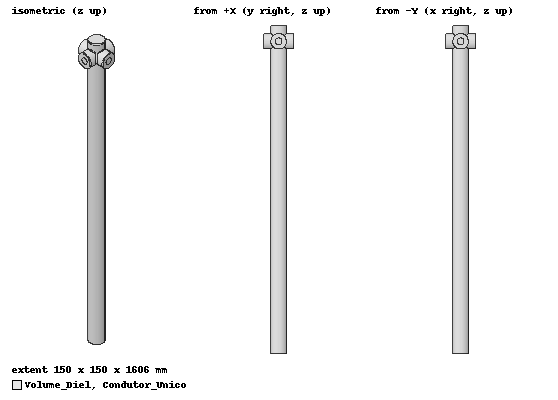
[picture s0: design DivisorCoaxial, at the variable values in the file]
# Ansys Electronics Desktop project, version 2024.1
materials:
  vacuum: permittivity=1
  Ar: permittivity=1.0006 permeability=1
  pec: conductivity=1e+30
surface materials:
  Steel-oxidised-surface

design DivisorCoaxial (HFSS, HFSS Modal Network, model units mm)
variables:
  comp_total = 1605.5494mm
  comp_secoes = 1529.0947mm
  dia_int_tubo = 75.86mm
  dia_saida_50ohm = 32.93839mm
  dia_sc1 = 42.055291mm
  dia_sc2 = 56.482868mm
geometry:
  Volume_Diel [Ar] = cylinder(axis=Z, base_centre=(0mm, 0mm, 0mm), radius=dia_int_tubo/2, height=comp_total)
  Condutor_Unico [pec] = cylinder(axis=Z, base_centre=(0mm, 0mm, 0mm), radius=dia_sc1/2, height=764.54735mm)
  Cond_Sec2 = cylinder(axis=Z, base_centre=(0mm, 0mm, 764.54735mm), radius=dia_sc2/2, height=764.54735mm)
  Output_Outer_1 = cylinder(axis=X, base_centre=(0mm, 0mm, comp_secoes), radius=dia_int_tubo/2, height=75mm)
  Output_Inner_1 = cylinder(axis=X, base_centre=(0mm, 0mm, comp_secoes), radius=dia_saida_50ohm/2, height=75mm)
  Output_Outer_1_1, Output_Outer_1_2, Output_Outer_1_3 = Output_Outer_1.duplicate_around_axis(axis=Z, angle=360deg/4, total=4)
  Output_Inner_1_1, Output_Inner_1_2, Output_Inner_1_3 = Output_Inner_1.duplicate_around_axis(axis=Z, angle=360deg/4, total=4)
  Volume_Diel.unite(Output_Outer_1, Output_Outer_1_1, Output_Outer_1_2, Output_Outer_1_3)
  Condutor_Unico.unite(Cond_Sec2, Output_Inner_1, Output_Inner_1_1, Output_Inner_1_2, Output_Inner_1_3)
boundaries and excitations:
  P1: Wave Port Faces=Volume_Diel.face(-z end) WavePortType=Modal NumModes=1 Modes{Mode1{CharImp=Zpi}}
  P2: Wave Port Faces=Volume_Diel.face(at (75, 0, 1529.09)) WavePortType=Modal NumModes=1 Modes{Mode1{CharImp=Zpi}}
  P3: Wave Port Faces=Volume_Diel.face(at (0, 75, 1529.09)) WavePortType=Modal NumModes=1 Modes{Mode1{CharImp=Zpi}}
  P4: Wave Port Faces=Volume_Diel.face(at (-75, 0, 1529.09)) WavePortType=Modal NumModes=1 Modes{Mode1{CharImp=Zpi}}
  P5: Wave Port Faces=Volume_Diel.face(at (0, -75, 1529.09)) WavePortType=Modal NumModes=1 Modes{Mode1{CharImp=Zpi}}
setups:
  Setup1: HfssDriven Frequency=0.098GHz MaxDeltaS=0.02 MaximumPasses=10 MinimumPasses=1 MinimumConvergedPasses=1 PercentRefinement=30 BasisOrder=1 PortAccuracy=2 DrivenSolverType="Direct Solver"
    sweep Sweep_FEVFAF: 88MHz to 108MHz, 401 points; Type=Fast SaveFields SaveRadFields
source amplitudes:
  P1:1: 1W 0deg
  P2:1, P3:1, P4:1, P5:1: 0W 0deg
